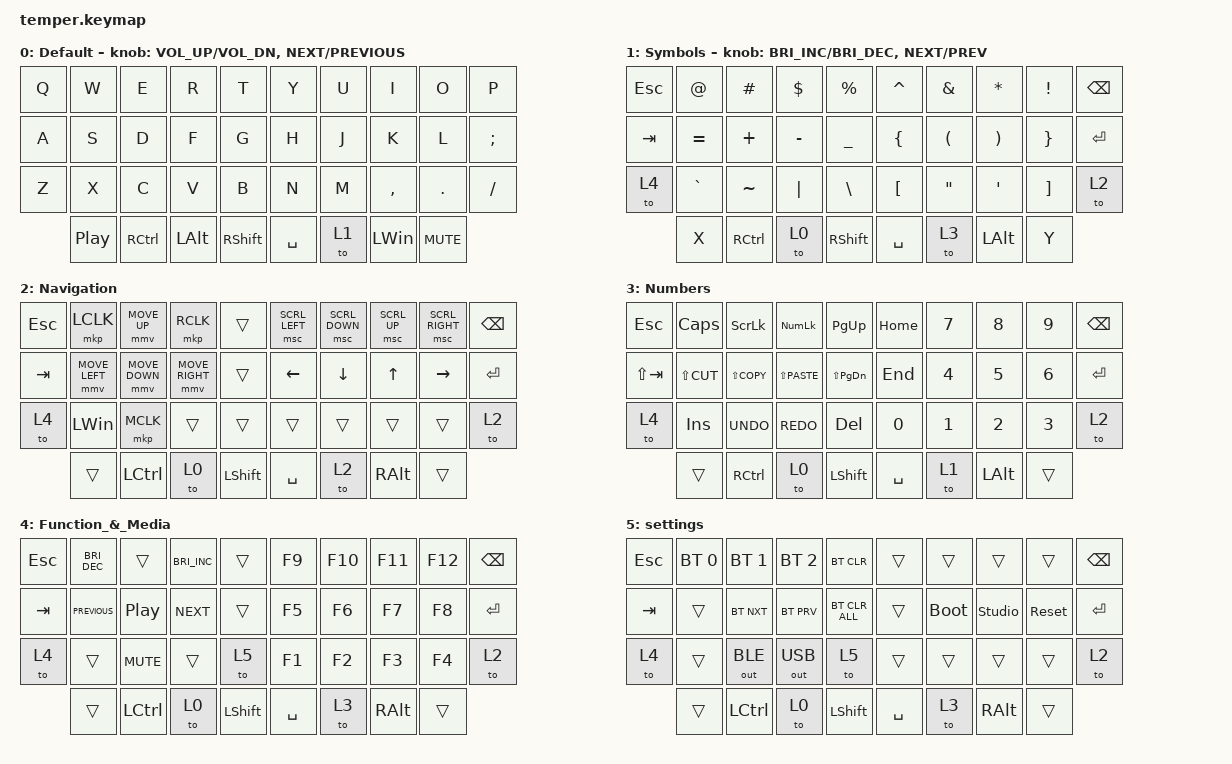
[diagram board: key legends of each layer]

#include <behaviors.dtsi>
#include <dt-bindings/zmk/bt.h>
#include <dt-bindings/zmk/keys.h>
#include <dt-bindings/zmk/outputs.h>
#include <dt-bindings/zmk/pointing.h>

#define DEFAULT 0
#define NAV     1
#define SYM     2
#define FUNC    3
#define MEDIA   4
#define MOUSE   5
#define WINNAV  6

&caps_word { continue-list = <UNDERSCORE MINUS>; };

/ {
    combos {
        compatible = "zmk,combos";

        combo_enter {
            bindings = <&kp ENTER>;
            key-positions = <16 17>;
            layers = <0>;
            timeout-ms = <50>;
        };

        combo_tab {
            bindings = <&kp TAB>;
            key-positions = <0 1>;
            require-prior-idle-ms = <50>;
            layers = <0>;
        };

        combo_ctrl_backspace {
            bindings = <&kp RC(BACKSPACE)>;
            key-positions = <22 23>;
            timeout-ms = <50>;
            layers = <0>;
        };

        combo_quote {
            bindings = <&kp SINGLE_QUOTE>;
            key-positions = <28 27>;
            timeout-ms = <50>;
            layers = <0>;
        };

        combo_ctrl_shift {
            bindings = <&kp LC(LEFT_SHIFT)>;
            key-positions = <20 21>;
            timeout-ms = <50>;
            layers = <0>;
        };

        combo_backspace {
            bindings = <&kp BACKSPACE>;
            key-positions = <12 13>;
            timeout-ms = <50>;
            layers = <0>;
        };

        combo_alt+shift {
            bindings = <&kp LA(LEFT_SHIFT)>;
            key-positions = <13 12>;
            timeout-ms = <50>;
            layers = <3>;
        };
    };
};

/ {
    behaviors {
        hm: homerow_mods {
            compatible = "zmk,behavior-hold-tap";
            label = "HOMEROW_MODS";
            #binding-cells = <2>;
            tapping-term-ms = <200>;
            quick_tap_ms = <0>;
            flavor = "balanced";
            bindings = <&kp>, <&kp>;
        };

        hs: homerow_shift {
            compatible = "zmk,behavior-hold-tap";
            label = "HOMEROW_SHIFT";
            #binding-cells = <2>;
            tapping-term-ms = <175>;
            quick_tap_ms = <0>;
            flavor = "balanced";
            bindings = <&kp>, <&kp>;
        };

        pht: positional_hold_tap {
            compatible = "zmk,behavior-hold-tap";
            label = "POSITIONAL_HOLD_TAP";
            #binding-cells = <2>;
            flavor = "hold-preferred";
            tapping-term-ms = <400>;
            quick-tap-ms = <200>;
            bindings = <&kp>, <&kp>;

            hold-trigger-key-positions = <1>;    // <---[[the W key]]
        };
    };

    keymap {
        compatible = "zmk,keymap";

        default_layer {
            label = "Default";
            bindings = <
&kp Q    &kp W               &kp E        &kp R           &kp T              &kp Y        &kp U    &kp I           &kp O         &kp P
&kp A    &kp S               &kp D        &kp F           &kp G              &kp H        &kp J    &kp K           &kp L         &kp SEMICOLON
&kp Z    &kp X               &kp C        &kp V           &kp B              &kp N        &kp M    &kp COMMA       &kp DOT       &kp FSLH
         &kp C_PLAY_PAUSE    &kp RCTRL    &kp LEFT_ALT    &kp RIGHT_SHIFT    &kp SPACE    &to 1    &kp LEFT_WIN    &kp C_MUTE
            >;

            sensor-bindings =
                <&inc_dec_kp C_VOL_UP C_VOL_DN>,
                <&inc_dec_kp C_NEXT C_PREVIOUS>;
        };

        symbol_layer {
            label = "Symbols";
            bindings = <
&kp ESC    &kp AT_SIGN    &kp HASH     &kp DOLLAR    &kp PERCENT        &kp CARET           &kp AMPERSAND           &kp ASTERISK             &kp EXCLAMATION      &kp BACKSPACE
&kp TAB    &kp EQUAL      &kp PLUS     &kp MINUS     &kp UNDERSCORE     &kp LEFT_BRACE      &kp LEFT_PARENTHESIS    &kp RIGHT_PARENTHESIS    &kp RIGHT_BRACE      &kp ENTER
&to 4      &kp GRAVE      &kp TILDE    &kp PIPE      &kp BACKSLASH      &kp LEFT_BRACKET    &kp DOUBLE_QUOTES       &kp SINGLE_QUOTE         &kp RIGHT_BRACKET    &to 2
           &kp X          &kp RCTRL    &to 0         &kp RIGHT_SHIFT    &kp SPACE           &to 3                   &kp LEFT_ALT             &kp Y
            >;

            sensor-bindings =
                <&inc_dec_kp C_BRIGHTNESS_INC C_BRIGHTNESS_DEC>,
                <&inc_dec_kp C_NEXT K_PREV>;
        };

        nav_layer {
            label = "Navigation";
            bindings = <
&kp ESCAPE    &mkp LCLK         &mmv MOVE_UP      &mkp RCLK          &trans            &msc SCRL_LEFT    &msc SCRL_DOWN    &msc SCRL_UP     &msc SCRL_RIGHT    &kp BACKSPACE
&kp TAB       &mmv MOVE_LEFT    &mmv MOVE_DOWN    &mmv MOVE_RIGHT    &trans            &kp LEFT          &kp DOWN          &kp UP_ARROW     &kp RIGHT          &kp ENTER
&to 4         &kp LEFT_WIN      &mkp MCLK         &trans             &trans            &trans            &trans            &trans           &trans             &to 2
              &trans            &kp LCTRL         &to 0              &kp LEFT_SHIFT    &kp SPACE         &to 2             &kp RIGHT_ALT    &trans
            >;
        };

        num_layer {
            label = "Numbers";
            bindings = <
&kp ESCAPE     &kp CAPS         &kp SCROLLLOCK    &kp KP_NUMLOCK     &kp PG_UP         &kp HOME        &kp NUMBER_7    &kp NUMBER_8    &kp NUMBER_9    &kp BACKSPACE
&kp LS(TAB)    &kp LS(K_CUT)    &kp LS(K_COPY)    &kp LS(K_PASTE)    &kp LS(PG_DN)     &kp END         &kp NUMBER_4    &kp NUMBER_5    &kp NUMBER_6    &kp ENTER
&to 4          &kp INSERT       &kp K_UNDO        &kp K_REDO         &kp DELETE        &kp NUMBER_0    &kp NUMBER_1    &kp NUMBER_2    &kp NUMBER_3    &to 2
               &trans           &kp RCTRL         &to 0              &kp LEFT_SHIFT    &kp SPACE       &to 1           &kp LEFT_ALT    &trans
            >;
        };

        function_layer {
            label = "Function_&_Media";
            bindings = <
&kp ESCAPE    &kp C_BRIGHTNESS_DEC    &trans              &kp C_BRIGHTNESS_INC    &trans            &kp F9       &kp F10    &kp F11          &kp F12    &kp BACKSPACE
&kp TAB       &kp C_PREVIOUS          &kp C_PLAY_PAUSE    &kp C_NEXT              &trans            &kp F5       &kp F6     &kp F7           &kp F8     &kp ENTER
&to 4         &trans                  &kp C_MUTE          &trans                  &to 5             &kp F1       &kp F2     &kp F3           &kp F4     &to 2
              &trans                  &kp LCTRL           &to 0                   &kp LEFT_SHIFT    &kp SPACE    &to 3      &kp RIGHT_ALT    &trans
            >;
        };

        settings_layer {
            label = "settings";
            bindings = <
&kp ESCAPE    &bt BT_SEL 0    &bt BT_SEL 1    &bt BT_SEL 2    &bt BT_CLR        &trans       &trans         &trans            &trans        &kp BACKSPACE
&kp TAB       &trans          &bt BT_NXT      &bt BT_PRV      &bt BT_CLR_ALL    &trans       &bootloader    &studio_unlock    &sys_reset    &kp ENTER
&to 4         &trans          &out OUT_BLE    &out OUT_USB    &to 5             &trans       &trans         &trans            &trans        &to 2
              &trans          &kp LCTRL       &to 0           &kp LEFT_SHIFT    &kp SPACE    &to 3          &kp RIGHT_ALT     &trans
            >;
        };
    };
};
